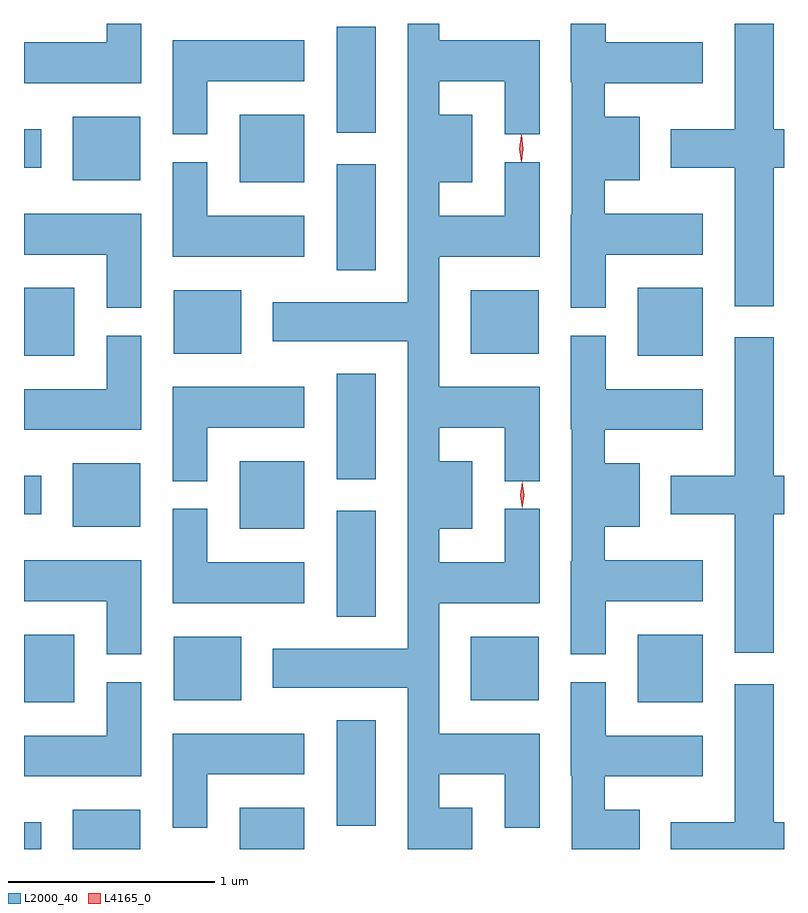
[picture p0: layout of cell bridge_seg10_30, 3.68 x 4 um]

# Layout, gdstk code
import gdstk
lib = gdstk.Library(unit=1e-6, precision=1e-09)
def R(c, l, rs):  # rectangles x0, y0, x1, y1
    for r in rs: c.add(gdstk.rectangle(r[:2], r[2:], *l))
def P(c, l, *ps):  # polygons
    for p in ps: c.add(gdstk.Polygon(p, *l))
L2000_40 = (2000, 40)
L4165_0 = (4165, 0)

bridge_seg10_30 = lib.new_cell('bridge_seg10_30')
R(bridge_seg10_30, L2000_40, [(1747.72,2174.174,1747.804,2174.304), (1747.956,2174.174,1748.284,2174.364), (1748.766,2174.174,1749.079,2174.374), (1749.236,2174.286,1749.424,2174.799), (1747.72,2174.886,1747.964,2175.214), (1750.696,2174.886,1751.009,2175.214), (1748.446,2174.896,1748.774,2175.204), (1749.886,2174.896,1750.214,2175.204), (1749.236,2175.301,1749.424,2175.814), (1748.766,2175.726,1749.079,2176.054), (1747.956,2175.736,1748.284,2176.044), (1747.72,2175.796,1747.804,2175.984), (1749.236,2175.966,1749.424,2176.479), (1747.72,2176.566,1747.964,2176.894), (1750.696,2176.566,1751.009,2176.894), (1748.446,2176.576,1748.774,2176.884), (1749.886,2176.576,1750.214,2176.884), (1749.236,2176.981,1749.424,2177.494), (1748.766,2177.406,1749.079,2177.734), (1747.956,2177.416,1748.284,2177.724), (1747.72,2177.476,1747.804,2177.664), (1749.236,2177.646,1749.424,2178.159)])
P(bridge_seg10_30, L2000_40, [(1749.894,2174.374),(1749.734,2174.374),(1749.734,2174.536),(1750.051,2174.536),(1750.051,2174.278),(1750.219,2174.278),(1750.219,2174.734),(1749.734,2174.734),(1749.734,2175.366),(1750.219,2175.366),(1750.219,2175.823),(1750.051,2175.823),(1750.051,2175.564),(1749.734,2175.564),(1749.734,2175.726),(1749.894,2175.726),(1749.894,2176.054),(1749.734,2176.054),(1749.734,2176.216),(1750.051,2176.216),(1750.051,2175.958),(1750.219,2175.958),(1750.219,2176.414),(1749.734,2176.414),(1749.734,2177.046),(1750.219,2177.046),(1750.219,2177.503),(1750.051,2177.503),(1750.051,2177.244),(1749.734,2177.244),(1749.734,2177.406),(1749.894,2177.406),(1749.894,2177.734),(1749.734,2177.734),(1749.734,2177.896),(1750.051,2177.896),(1750.051,2177.638),(1750.219,2177.638),(1750.219,2178.094),(1749.734,2178.094),(1749.734,2178.174),(1749.581,2178.174),(1749.581,2176.824),(1748.926,2176.824),(1748.926,2176.636),(1749.581,2176.636),(1749.581,2175.144),(1748.926,2175.144),(1748.926,2174.956),(1749.581,2174.956),(1749.581,2174.174),(1749.894,2174.174)],
  [(1750.539,2177.056),(1751.009,2177.056),(1751.009,2177.254),(1750.534,2177.254),(1750.534,2177.416),(1750.704,2177.416),(1750.704,2177.724),(1750.534,2177.724),(1750.534,2177.886),(1751.009,2177.886),(1751.009,2178.084),(1750.539,2178.084),(1750.539,2178.174),(1750.371,2178.174),(1750.371,2177.89),(1750.376,2177.89),(1750.376,2177.25),(1750.371,2177.25),(1750.371,2176.798),(1750.539,2176.798)],
  [(1751.354,2177.476),(1751.404,2177.476),(1751.404,2177.664),(1751.354,2177.664),(1751.354,2178.174),(1751.166,2178.174),(1751.166,2177.664),(1750.856,2177.664),(1750.856,2177.476),(1751.166,2177.476),(1751.166,2176.806),(1751.354,2176.806)],
  [(1748.289,2178.174),(1748.121,2178.174),(1748.121,2178.084),(1747.72,2178.084),(1747.72,2177.886),(1748.289,2177.886)],
  [(1748.609,2177.896),(1749.079,2177.896),(1749.079,2178.094),(1748.441,2178.094),(1748.441,2177.638),(1748.609,2177.638)],
  [(1749.079,2177.244),(1748.609,2177.244),(1748.609,2177.503),(1748.441,2177.503),(1748.441,2177.046),(1749.079,2177.046)],
  [(1748.289,2177.254),(1747.72,2177.254),(1747.72,2177.056),(1748.121,2177.056),(1748.121,2176.798),(1748.289,2176.798)],
  [(1750.539,2175.376),(1751.009,2175.376),(1751.009,2175.574),(1750.534,2175.574),(1750.534,2175.736),(1750.704,2175.736),(1750.704,2176.044),(1750.534,2176.044),(1750.534,2176.206),(1751.009,2176.206),(1751.009,2176.404),(1750.539,2176.404),(1750.539,2176.663),(1750.371,2176.663),(1750.371,2176.21),(1750.376,2176.21),(1750.376,2175.57),(1750.371,2175.57),(1750.371,2175.118),(1750.539,2175.118)],
  [(1748.289,2176.663),(1748.121,2176.663),(1748.121,2176.404),(1747.72,2176.404),(1747.72,2176.206),(1748.289,2176.206)],
  [(1751.354,2175.796),(1751.404,2175.796),(1751.404,2175.984),(1751.354,2175.984),(1751.354,2176.654),(1751.166,2176.654),(1751.166,2175.984),(1750.856,2175.984),(1750.856,2175.796),(1751.166,2175.796),(1751.166,2175.126),(1751.354,2175.126)],
  [(1748.609,2176.216),(1749.079,2176.216),(1749.079,2176.414),(1748.441,2176.414),(1748.441,2175.958),(1748.609,2175.958)],
  [(1749.079,2175.564),(1748.609,2175.564),(1748.609,2175.823),(1748.441,2175.823),(1748.441,2175.366),(1749.079,2175.366)],
  [(1748.289,2175.574),(1747.72,2175.574),(1747.72,2175.376),(1748.121,2175.376),(1748.121,2175.118),(1748.289,2175.118)],
  [(1748.289,2174.983),(1748.121,2174.983),(1748.121,2174.724),(1747.72,2174.724),(1747.72,2174.526),(1748.289,2174.526)],
  [(1750.704,2174.364),(1750.534,2174.364),(1750.534,2174.526),(1751.009,2174.526),(1751.009,2174.724),(1750.539,2174.724),(1750.539,2174.983),(1750.371,2174.983),(1750.371,2174.53),(1750.376,2174.53),(1750.376,2174.174),(1750.704,2174.174)],
  [(1751.404,2174.304),(1751.354,2174.304),(1751.354,2174.974),(1751.166,2174.974),(1751.166,2174.304),(1750.856,2174.304),(1750.856,2174.174),(1751.404,2174.174)],
  [(1748.609,2174.536),(1749.079,2174.536),(1749.079,2174.734),(1748.441,2174.734),(1748.441,2174.278),(1748.609,2174.278)])
P(bridge_seg10_30, L4165_0, [(1750.131,2177.504),(1750.131,2177.505),(1750.121,2177.57),(1750.131,2177.635),(1750.131,2177.636),(1750.132,2177.635),(1750.141,2177.57),(1750.132,2177.505)],
  [(1750.135,2175.824),(1750.134,2175.825),(1750.125,2175.89),(1750.134,2175.955),(1750.135,2175.956),(1750.136,2175.955),(1750.145,2175.89),(1750.136,2175.825)])

lib.write_gds('bridge_seg10_30.gds')
